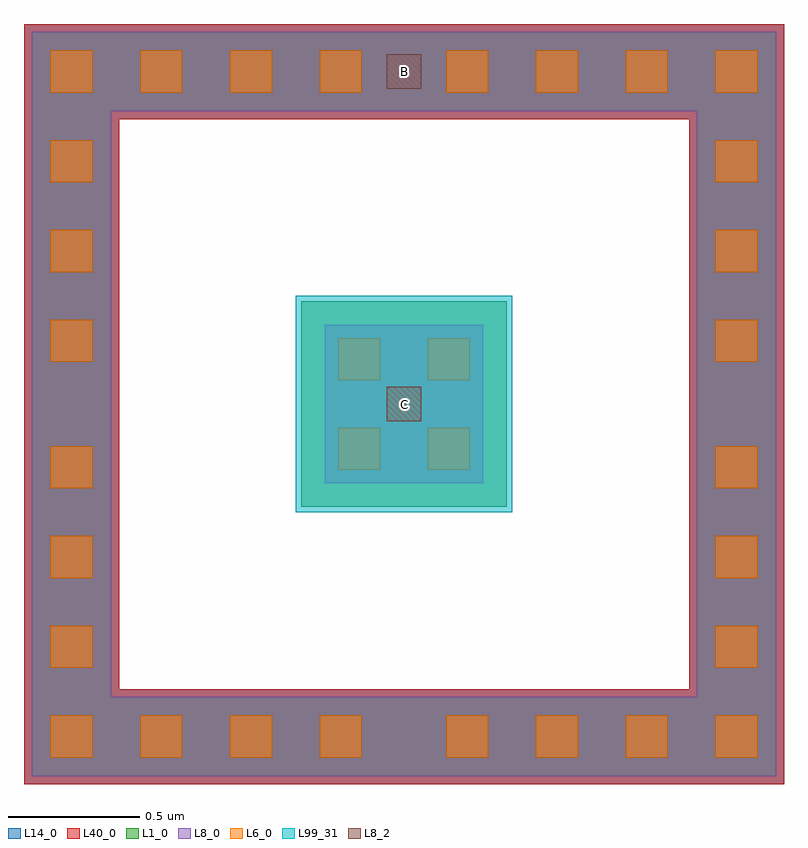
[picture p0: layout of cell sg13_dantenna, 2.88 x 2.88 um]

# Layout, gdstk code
import gdstk
lib = gdstk.Library(unit=1e-6, precision=1e-09)
def R(c, l, rs):  # rectangles x0, y0, x1, y1
    for r in rs: c.add(gdstk.rectangle(r[:2], r[2:], *l))
def A(c, l, x, y, w, h, nx, ny, dx, dy):  # array of equal rectangles
    R(c, l, [(x+i*dx, y+j*dy, x+i*dx+w, y+j*dy+h) for i in range(nx) for j in range(ny)])
def P(c, l, *ps):  # polygons
    for p in ps: c.add(gdstk.Polygon(p, *l))
L1_0 = (1, 0)
L6_0 = (6, 0)
L8_0 = (8, 0)
L8_2 = (8, 2)
L14_0 = (14, 0)
L40_0 = (40, 0)
L99_31 = (99, 31)

dantenna = lib.new_cell('dantenna')
R(dantenna, L1_0, [(-1.02,-0.72,-0.72,1.5), (1.5,-0.72,1.8,1.5), (0,0,0.78,0.78), (-1.02,1.5,1.8,1.8)])
P(dantenna, L1_0, [(-1.02,-1.02),(-1.02,1.5),(-0.72,1.5),(-0.72,-0.72),(1.5,-0.72),(1.5,1.5),(-1.02,1.5),(-1.02,1.8),(1.8,1.8),(1.8,-1.02)])
A(dantenna, L6_0, -0.95, -0.95, 0.16, 0.16, 4, 2, 0.34, 2.52)
A(dantenna, L6_0, 0.55, -0.95, 0.16, 0.16, 4, 2, 0.34, 2.52)
A(dantenna, L6_0, -0.95, -0.61, 0.16, 0.16, 1, 3, 0, 0.34)
A(dantenna, L6_0, 1.57, -0.61, 0.16, 0.16, 1, 3, 0, 0.34)
A(dantenna, L6_0, -0.95, 0.55, 0.16, 0.16, 1, 3, 0, 0.34)
A(dantenna, L6_0, 1.57, 0.55, 0.16, 0.16, 1, 3, 0, 0.34)
R(dantenna, L6_0, [(0.14,0.14,0.3,0.3), (0.48,0.14,0.64,0.3), (0.14,0.48,0.3,0.64), (0.48,0.48,0.64,0.64)])
R(dantenna, L8_0, [(-1.02,-1.02,1.8,-0.72), (-1.02,-0.72,-0.72,1.5), (1.5,-0.72,1.8,1.5), (0.14,0.14,0.64,0.64), (0.14,0.14,0.64,0.64), (-1.02,1.5,1.8,1.8)])
R(dantenna, L14_0, [(-1.05,-0.69,-0.69,1.47), (1.47,-0.69,1.83,1.47), (-1.05,1.47,1.83,1.83)])
P(dantenna, L14_0, [(-1.05,-1.05),(-1.05,1.47),(-0.69,1.47),(-0.69,-0.69),(1.47,-0.69),(1.47,1.47),(-1.05,1.47),(-1.05,1.83),(1.83,1.83),(1.83,-1.05)])
R(dantenna, L40_0, [(-1.05,-0.69,-0.69,1.47), (1.47,-0.69,1.83,1.47), (-1.05,1.47,1.83,1.83)])
P(dantenna, L40_0, [(-1.05,-1.05),(-1.05,1.47),(-0.69,1.47),(-0.69,-0.69),(1.47,-0.69),(1.47,1.47),(-1.05,1.47),(-1.05,1.83),(1.83,1.83),(1.83,-1.05)])
R(dantenna, L99_31, [(-0.02,-0.02,0.8,0.8)])
dantenna.add(gdstk.Label('dant', (0.39,0.39), layer=63, texttype=0))
dantenna.add(gdstk.Label('sub!', (0.39,-0.87), layer=63, texttype=0))

sg13_dantenna = lib.new_cell('sg13_dantenna')
R(sg13_dantenna, L8_0, [(0.11,0.11,0.71,0.71)])
P(sg13_dantenna, L8_0, [(0.16,0.66),(0.16,0.66),(0.16,0.66),(0.16,0.66)])
R(sg13_dantenna, L8_2, [(0.345,0.345,0.475,0.475), (0.345,1.605,0.475,1.735)])
sg13_dantenna.add(gdstk.Reference(dantenna, (0.02,0.02)))
sg13_dantenna.add(gdstk.Label('B', (0.41,1.67), layer=8, texttype=25))
sg13_dantenna.add(gdstk.Label('C', (0.41,0.41), layer=8, texttype=25))

lib.write_gds('sg13_dantenna.gds')
